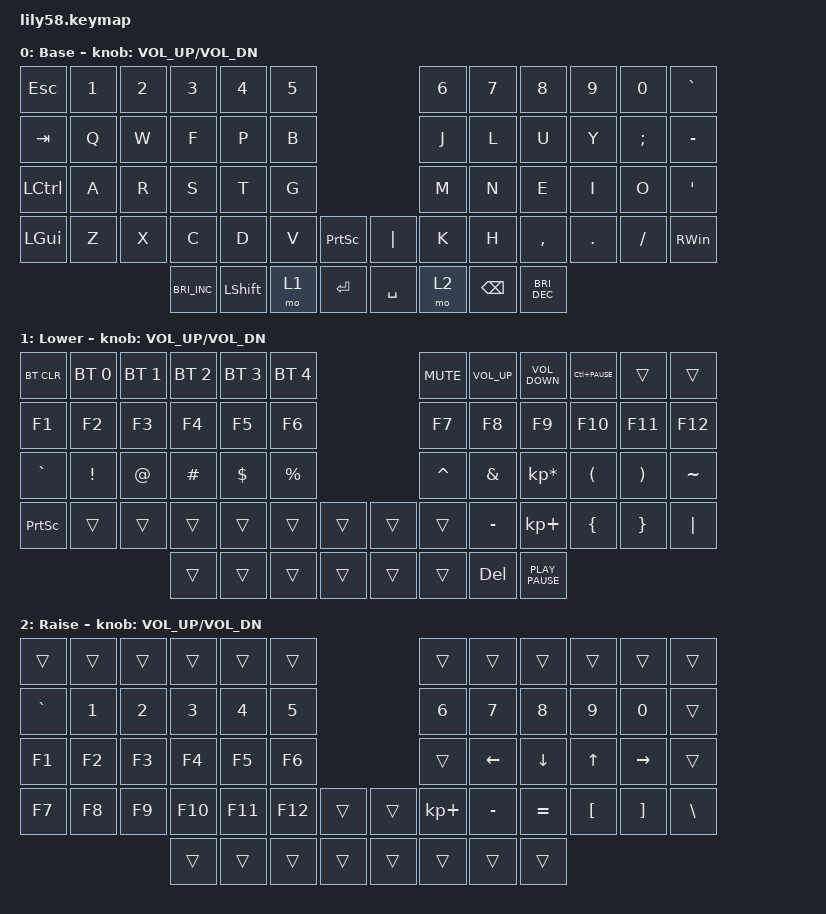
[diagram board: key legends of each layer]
/*
 * Copyright (c) 2020 The ZMK Contributors
 *
 * SPDX-License-Identifier: MIT
 */

#include <behaviors.dtsi>
#include <dt-bindings/zmk/bt.h>
#include <dt-bindings/zmk/keys.h>

/ {
    keymap {
        compatible = "zmk,keymap";

        default_layer {
            // ------------------------------------------------------------------------------------------------------------
            // |  ESC  |  1  |  2  |  3   |  4   |  5   |                   |  6   |  7    |  8    |  9   |   0   |   `   |
            // |  TAB  |  Q  |  W  |  E   |  R   |  T   |                   |  Y   |  U    |  I    |  O   |   P   |   -   |
            // |  CTRL |  A  |  S  |  D   |  F   |  G   |                   |  H   |  J    |  K    |  L   |   ;   |   '   |
            // | SHIFT |  Z  |  X  |  C   |  V   |  B   |   "["  |  |  "]"  |  N   |  M    |  ,    |  .   |   /   | SHIFT |
            //                     | ALT  | GUI  | LOWER|  SPACE |  | ENTER | RAISE| BSPC  | GUI   |

            display-name = "Base";
            bindings = <
&kp ESC       &kp N1  &kp N2  &kp N3                &kp N4      &kp N5                                &kp N6  &kp N7    &kp N8                &kp N9   &kp N0         &kp GRAVE
&kp TAB       &kp Q   &kp W   &kp F                 &kp P       &kp B                                 &kp J   &kp L     &kp U                 &kp Y    &kp SEMICOLON  &kp MINUS
&kp LCTRL     &kp A   &kp R   &kp S                 &kp T       &kp G                                 &kp M   &kp N     &kp E                 &kp I    &kp O          &kp SQT
&kp LEFT_GUI  &kp Z   &kp X   &kp C                 &kp D       &kp V   &kp PRINTSCREEN    &kp PIPE   &kp K   &kp H     &kp COMMA             &kp DOT  &kp FSLH       &kp RWIN
                              &kp C_BRIGHTNESS_INC  &kp LSHIFT  &mo 1   &kp ENTER          &kp SPACE  &mo 2   &kp BSPC  &kp C_BRIGHTNESS_DEC
            >;

            sensor-bindings = <&inc_dec_kp C_VOL_UP C_VOL_DN>;
        };

        lower_layer {
            // ------------------------------------------------------------------------------------------------------------
            // | BTCLR | BT1 | BT2 |  BT3 |  BT4 |  BT5 |                   |      |       |       |      |       |       |
            // |  F1   |  F2 |  F3 |  F4  |  F5  |  F6  |                   |  F7  |  F8   |  F9   |  F10 |  F11  |  F12  |
            // |   `   |  !  |  @  |  #   |  $   |  %   |                   |  ^   |  &    |  *    |  (   |   )   |   ~   |
            // |       |     |     |      |      |      |        |  |       |      |  _    |  +    |  {   |   }   |  "|"  |
            //                     |      |      |      |        |  |       |      |       |       |

            display-name = "Lower";
            bindings = <
&bt BT_CLR       &bt BT_SEL 0  &bt BT_SEL 1  &bt BT_SEL 2  &bt BT_SEL 3  &bt BT_SEL 4                    &kp K_MUTE  &kp C_VOLUME_UP  &kp C_VOLUME_DOWN  &kp LC(C_PAUSE)  &trans    &trans
&kp F1           &kp F2        &kp F3        &kp F4        &kp F5        &kp F6                          &kp F7      &kp F8           &kp F9             &kp F10          &kp F11   &kp F12
&kp GRAVE        &kp EXCL      &kp AT        &kp HASH      &kp DOLLAR    &kp PRCNT                       &kp CARET   &kp AMPS         &kp KP_MULTIPLY    &kp LPAR         &kp RPAR  &kp TILDE
&kp PRINTSCREEN  &trans        &trans        &trans        &trans        &trans        &trans    &trans  &trans      &kp MINUS        &kp KP_PLUS        &kp LBRC         &kp RBRC  &kp PIPE
                                             &trans        &trans        &trans        &trans    &trans  &trans      &kp DELETE       &kp K_PLAY_PAUSE
            >;

            sensor-bindings = <&inc_dec_kp C_VOL_UP C_VOL_DN>;
        };

        raise_layer {
            // ------------------------------------------------------------------------------------------------------------
            // |       |     |     |      |      |      |                   |      |       |       |      |       |       |
            // |   `   |  1  |  2  |  3   |  4   |  5   |                   |  6   |   7   |   8   |  9   |   0   |       |
            // |   F1  |  F2 |  F3 |  F4  |  F5  |  F6  |                   |      |   <-  |   v   |  ^   |  ->   |       |
            // |   F7  |  F8 |  F9 |  F10 |  F11 |  F12 |        |  |       |  +   |   -   |   =   |  [   |   ]   |   \   |
            //                     |      |      |      |        |  |       |      |       |       |

            display-name = "Raise";
            bindings = <
&trans     &trans  &trans  &trans   &trans   &trans                     &trans       &trans     &trans     &trans    &trans     &trans
&kp GRAVE  &kp N1  &kp N2  &kp N3   &kp N4   &kp N5                     &kp N6       &kp N7     &kp N8     &kp N9    &kp N0     &trans
&kp F1     &kp F2  &kp F3  &kp F4   &kp F5   &kp F6                     &trans       &kp LEFT   &kp DOWN   &kp UP    &kp RIGHT  &trans
&kp F7     &kp F8  &kp F9  &kp F10  &kp F11  &kp F12  &trans    &trans  &kp KP_PLUS  &kp MINUS  &kp EQUAL  &kp LBKT  &kp RBKT   &kp BSLH
                           &trans   &trans   &trans   &trans    &trans  &trans       &trans     &trans
            >;

            sensor-bindings = <&inc_dec_kp C_VOL_UP C_VOL_DN>;
        };
    };
};
